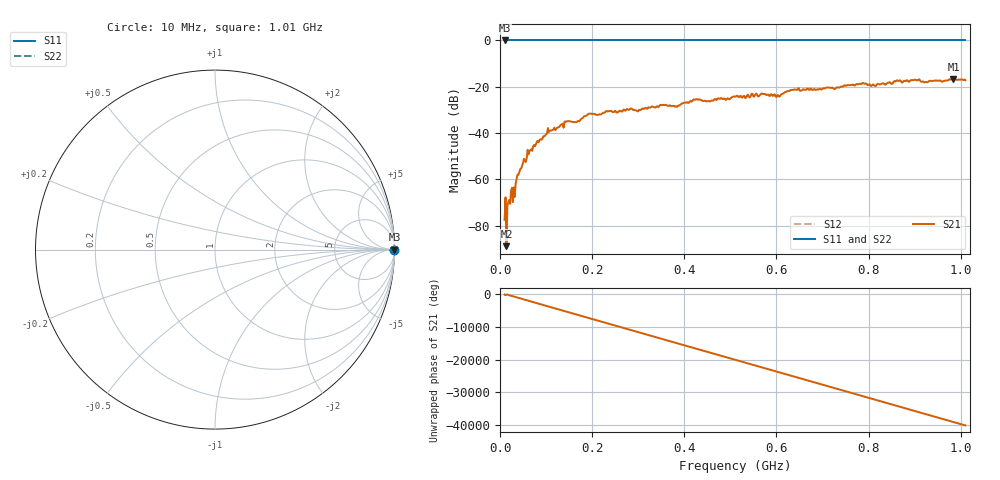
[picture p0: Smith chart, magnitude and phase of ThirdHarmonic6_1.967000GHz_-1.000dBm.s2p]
! 8/16/2025 11:40:13 PM
! C:\ANRITSUVNA\TEMP\TEMP.S2P
! CHANNEL.1
! TR.MEASUREMENT
! RAW.DATA
! RF.CORRECTION.OFF
! AVERAGING.OFF
! IF.BANDWIDTH: 5KHZ
! SWEEPTYPE:  FREQ.SWEEP(Linear)
! Reference Plane Port Info
! PORT:  PORT1  PORT2
! DISTANCE:  0  m  0  m
! TIME:  0  s  0  s
! PHASE.OFFSET:  0  deg.  0  deg.
! LOSS:  0  dB  0  dB
! REF.LOSS:  0  dB  0  dB
! REF.FREQ:  0  Hz  0  Hz
! Power Info
! POWER:  -20  dBm  -20  dBm
! EFF.POWER:  -20  dBm  -20  dBm
! SOURCE.ATTEN:  0  dB  0  dB
! TEST.ATTEN:  0  dB  0  dB
# GHZ S RI R 50.0
! FREQ.GHZ  S11RE  S11IM  S21RE  S21IM  S12RE  S12IM  S22RE  S22IM
!; PortSelection: Port_12
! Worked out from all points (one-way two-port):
!   501 points, 10 MHz to 1.01 GHz, reference 50 ohm
!   highest |S21| = -16.64 dB at 984 MHz (marker M1); lowest = -88.9 dB at 14 MHz (marker M2)
!   lowest |S11| = 0.0 dB at 10 MHz (marker M3)
!   |S11| at or under -10 dB: nowhere
!   |S22| runs from 0.0 to 0.0 dB; largest |S21 - S12| = 1.1
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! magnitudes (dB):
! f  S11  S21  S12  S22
! 10 MHz  0.0  -77.6  0.0  0.0
! 14 MHz  0.0  -88.9  0.0  0.0
! 16 MHz  0.0  -71.4  0.0  0.0
! 18 MHz  0.0  -70.1  0.0  0.0
! 22 MHz  0.0  -70.6  0.0  0.0
! 32 MHz  0.0  -67.6  0.0  0.0
! 40 MHz  0.0  -58.0  0.0  0.0
! 64 MHz  0.0  -47.8  0.0  0.0
! 108 MHz  0.0  -39.0  0.0  0.0
! 144 MHz  0.0  -35.0  0.0  0.0
! 178 MHz  0.0  -33.7  0.0  0.0
! 194 MHz  0.0  -31.7  0.0  0.0
! 344 MHz  0.0  -28.8  0.0  0.0
! 384 MHz  0.0  -28.7  0.0  0.0
! 424 MHz  0.0  -25.6  0.0  0.0
! 510 MHz  0.0  -24.3  0.0  0.0
! 604 MHz  0.0  -23.7  0.0  0.0
! 634 MHz  0.0  -21.3  0.0  0.0
! 678 MHz  0.0  -21.4  0.0  0.0
! 844 MHz  0.0  -18.2  0.0  0.0
! 984 MHz  0.0  -16.6  0.0  0.0
! 1.01 GHz  0.0  -17.2  0.0  0.0
